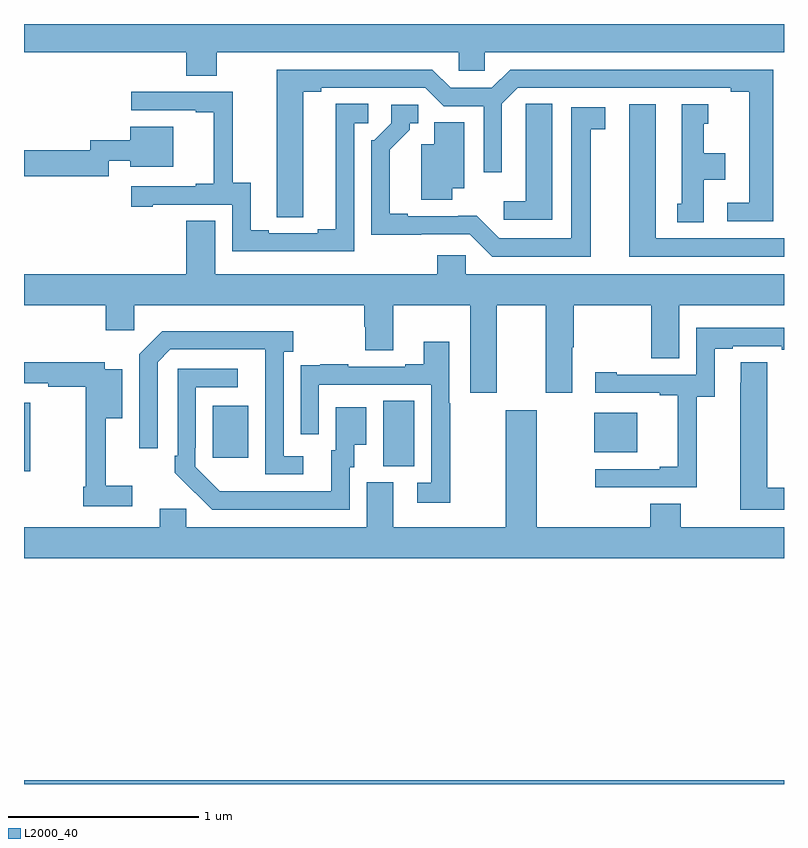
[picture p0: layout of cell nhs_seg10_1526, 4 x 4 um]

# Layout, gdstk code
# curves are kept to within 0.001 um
import gdstk
lib = gdstk.Library(unit=1e-6, precision=1e-09)
def R(c, l, rs):  # rectangles x0, y0, x1, y1
    for r in rs: c.add(gdstk.rectangle(r[:2], r[2:], *l))
def P(c, l, *ps):  # polygons
    for p in ps: c.add(gdstk.Polygon(p, *l))
L2000_40 = (2000, 40)

nhs_seg10_1526 = lib.new_cell('nhs_seg10_1526')
R(nhs_seg10_1526, L2000_40, [(191,1260.5,195,1260.52), (191,1262.146,191.032,1262.506), (192.89,1262.173,193.054,1262.516), (191.993,1262.217,192.181,1262.491), (194,1262.246,194.227,1262.455)])
P(nhs_seg10_1526, L2000_40, [(192.015,1264.352),(193.287,1264.352),(193.287,1264.254),(193.425,1264.254),(193.425,1264.352),(195,1264.352),(195,1264.5),(191,1264.5),(191,1264.352),(191.855,1264.352),(191.855,1264.228),(192.015,1264.228)],
  [(194.944,1264.26),(193.559,1264.26),(193.463,1264.164),(193.245,1264.164),(193.149,1264.26),(192.329,1264.26),(192.33,1263.484),(192.469,1263.484),(192.469,1264.144),(192.565,1264.144),(192.565,1264.164),(193.113,1264.164),(193.209,1264.068),(193.419,1264.068),(193.419,1263.72),(193.515,1263.72),(193.515,1264.08),(193.599,1264.164),(194.72,1264.164),(194.72,1264.144),(194.816,1264.144),(194.816,1263.558),(194.7,1263.558),(194.7,1263.462),(194.944,1263.462)],
  [(192.738,1263.978),(192.811,1263.978),(192.811,1264.079),(192.641,1264.079),(192.641,1263.419),(192.545,1263.419),(192.545,1263.399),(192.289,1263.399),(192.289,1263.414),(192.193,1263.414),(192.193,1263.665),(192.099,1263.665),(192.099,1264.143),(191.565,1264.143),(191.565,1264.047),(191.903,1264.047),(191.903,1264.035),(191.999,1264.035),(191.999,1263.658),(191.903,1263.658),(191.903,1263.645),(191.565,1263.645),(191.565,1263.537),(191.677,1263.537),(191.677,1263.549),(192.096,1263.549),(192.096,1263.303),(192.738,1263.303)],
  [(193.78,1264.079),(193.641,1264.079),(193.641,1263.971),(193.64,1263.971),(193.64,1263.568),(193.524,1263.568),(193.524,1263.471),(193.78,1263.471)],
  [(194.578,1263.68),(194.692,1263.68),(194.692,1263.82),(194.578,1263.82),(194.578,1263.975),(194.602,1263.975),(194.602,1264.078),(194.462,1264.078),(194.462,1263.555),(194.438,1263.555),(194.438,1263.457),(194.578,1263.457)],
  [(195,1263.372),(194.326,1263.372),(194.326,1264.078),(194.186,1264.078),(194.186,1263.276),(195,1263.276)],
  [(193.984,1263.946),(194.059,1263.946),(194.059,1264.062),(193.88,1264.062),(193.88,1263.372),(193.5,1263.372),(193.382,1263.49),(193.021,1263.489),(193.021,1263.502),(192.925,1263.502),(192.925,1263.838),(193.03,1263.943),(193.03,1263.978),(193.075,1263.978),(193.075,1264.074),(192.933,1264.074),(192.933,1263.978),(192.843,1263.888),(192.828,1263.888),(192.828,1263.392),(193.347,1263.393),(193.464,1263.276),(193.984,1263.276)],
  [(193.255,1263.635),(193.318,1263.635),(193.318,1263.983),(193.16,1263.983),(193.16,1263.868),(193.091,1263.868),(193.091,1263.574),(193.255,1263.574)],
  [(191.445,1263.779),(191.558,1263.779),(191.558,1263.749),(191.785,1263.749),(191.785,1263.958),(191.558,1263.958),(191.558,1263.889),(191.349,1263.889),(191.349,1263.836),(191,1263.836),(191,1263.7),(191.445,1263.7)],
  [(192.007,1263.464),(191.855,1263.464),(191.855,1263.184),(191,1263.184),(191,1263.02),(191.429,1263.02),(191.429,1262.889),(191.58,1262.889),(191.58,1263.02),(192.791,1263.02),(192.791,1262.907),(192.796,1262.907),(192.796,1262.782),(192.943,1262.782),(192.943,1263.02),(193.349,1263.02),(193.349,1262.559),(193.489,1262.559),(193.489,1263.02),(193.745,1263.02),(193.745,1262.559),(193.885,1262.559),(193.885,1262.798),(193.893,1262.798),(193.893,1263.02),(194.302,1263.02),(194.302,1262.74),(194.449,1262.74),(194.449,1263.02),(195,1263.02),(195,1263.184),(193.326,1263.184),(193.326,1263.282),(193.175,1263.282),(193.175,1263.184),(192.007,1263.184)],
  [(194.541,1262.539),(194.635,1262.539),(194.635,1262.79),(194.731,1262.79),(194.731,1262.805),(194.987,1262.805),(194.987,1262.785),(195,1262.785),(195,1262.901),(194.538,1262.901),(194.538,1262.655),(194.119,1262.655),(194.119,1262.668),(194.007,1262.668),(194.007,1262.559),(194.345,1262.559),(194.345,1262.547),(194.441,1262.547),(194.441,1262.17),(194.345,1262.17),(194.345,1262.157),(194.007,1262.157),(194.007,1262.061),(194.541,1262.061)],
  [(192.469,1262.226),(192.366,1262.226),(192.366,1262.774),(192.418,1262.774),(192.418,1262.884),(191.728,1262.884),(191.607,1262.763),(191.607,1262.268),(191.703,1262.268),(191.703,1262.721),(191.769,1262.787),(192.269,1262.787),(192.27,1262.13),(192.469,1262.13)],
  [(193.244,1262.504),(193.239,1262.504),(193.239,1262.827),(193.103,1262.827),(193.103,1262.71),(193.007,1262.71),(193.007,1262.697),(192.707,1262.697),(192.707,1262.71),(192.559,1262.71),(192.559,1262.703),(192.457,1262.703),(192.457,1262.594),(192.456,1262.594),(192.456,1262.34),(192.552,1262.34),(192.552,1262.601),(193.143,1262.601),(193.143,1262.085),(193.071,1262.085),(193.071,1261.98),(193.244,1261.98)],
  [(195,1262.06),(194.911,1262.06),(194.911,1262.72),(194.772,1262.72),(194.772,1262.612),(194.771,1262.612),(194.771,1261.944),(195,1261.944)],
  [(191.569,1262.071),(191.429,1262.071),(191.429,1262.426),(191.518,1262.426),(191.518,1262.683),(191.424,1262.683),(191.424,1262.719),(191,1262.719),(191,1262.61),(191.128,1262.61),(191.128,1262.59),(191.326,1262.59),(191.326,1262.065),(191.311,1262.065),(191.311,1261.962),(191.569,1261.962)],
  [(192.714,1262.166),(192.739,1262.166),(192.739,1262.285),(192.802,1262.285),(192.802,1262.482),(192.641,1262.482),(192.641,1262.256),(192.617,1262.256),(192.617,1262.04),(192.03,1262.041),(191.901,1262.169),(191.901,1262.269),(191.904,1262.269),(191.904,1262.589),(192.124,1262.589),(192.124,1262.685),(191.808,1262.685),(191.808,1262.227),(191.793,1262.227),(191.793,1262.139),(191.99,1261.944),(192.714,1261.944)],
  [(195,1261.852),(194.457,1261.852),(194.457,1261.976),(194.297,1261.976),(194.297,1261.852),(193.699,1261.852),(193.699,1262.467),(193.535,1262.467),(193.535,1261.852),(192.943,1261.852),(192.943,1262.088),(192.803,1262.088),(192.803,1261.852),(191.853,1261.852),(191.853,1261.95),(191.714,1261.95),(191.714,1261.852),(191,1261.852),(191,1261.688),(195,1261.688)])

lib.write_gds('nhs_seg10_1526.gds')
